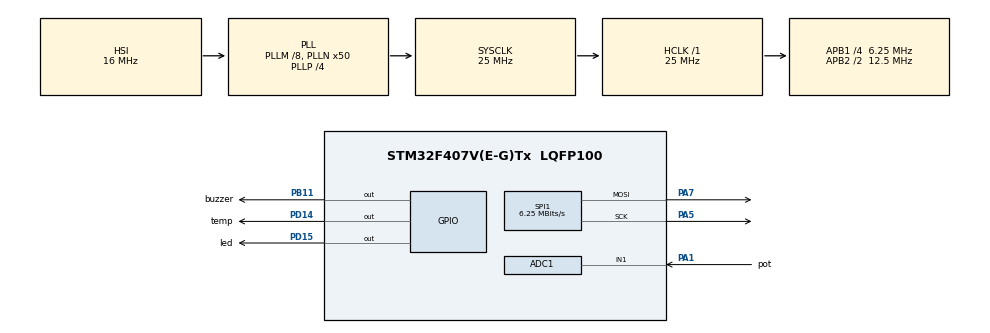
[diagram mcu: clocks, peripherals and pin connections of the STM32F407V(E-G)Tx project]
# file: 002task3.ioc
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Mcu.Family=STM32F4
RCC.CortexFreq_Value=25000000
FREERTOS.Tasks01=defaultTask,0,128,StartDefaultTask,Default,NULL,Dynamic,NULL,NULL
PD15.GPIO_Label=led
ADC1.Rank-0\#ChannelRegularConversion=1
PA7.Mode=TX_Only_Simplex_Unidirect_Master
SPI1.VirtualType=VM_MASTER
VP_SYS_VS_tim7.Mode=TIM7
PB11.GPIO_Label=buzzer
RCC.APB1CLKDivider=RCC_HCLK_DIV4
PB11.Signal=GPIO_Output
RCC.SYSCLKSource=RCC_SYSCLKSOURCE_PLLCLK
ProjectManager.StackSize=0x400
PA13.Signal=SYS_JTMS-SWDIO
NVIC.ADC_IRQn=true\:15\:0\:true\:false\:true\:true\:true\:true
ProjectManager.TargetToolchain=STM32CubeIDE
SPI1.Direction=SPI_DIRECTION_2LINES
RCC.HCLKFreq_Value=25000000
ADC1.Resolution=ADC_RESOLUTION_10B
RCC.APB2TimFreq_Value=25000000
SPI1.CalculateBaudRate=6.25 MBits/s
RCC.LSE_VALUE=32768
PA1.Signal=ADCx_IN1
RCC.AHBFreq_Value=25000000
PA5.Signal=SPI1_SCK
ADC1.Channel-0\#ChannelRegularConversion=ADC_CHANNEL_1
RCC.HSE_VALUE=8000000
FREERTOS.configUSE_TIMERS=1
board=STM32F407G-DISC1
RCC.VCOOutputFreq_Value=100000000
NVIC.SPI1_IRQn=true\:0\:0\:false\:false\:true\:true\:true\:true
RCC.APB2Freq_Value=12500000
SPI1.Mode=SPI_MODE_MASTER
PA14.Mode=Serial_Wire
PA1.GPIO_Label=pot
PD14.GPIO_Label=temp
VP_FREERTOS_VS_CMSIS_V1.Mode=CMSIS_V1
PA13.Mode=Serial_Wire
Mcu.Name=STM32F407V(E-G)Tx
ADC1.SamplingTime-0\#ChannelRegularConversion=ADC_SAMPLETIME_3CYCLES
PD14.Signal=GPIO_Output
RCC.48MHZClocksFreq_Value=14285714.285714285
RCC.SYSCLKFreq_VALUE=25000000
Mcu.Package=LQFP100
ADC1.master=1
NVIC.TimeBase=TIM7_IRQn
NVIC.TimeBaseIP=TIM7
PA14.Signal=SYS_JTCK-SWCLK
ProjectManager.HeapSize=0x200
FREERTOS.Timers01=myTimer01,Callback01,osTimerPeriodic,Default,NULL,Dynamic,NULL
RCC.HSI_VALUE=16000000
RCC.PLLP=RCC_PLLP_DIV4
RCC.PLLQ=7
NVIC.PriorityGroup=NVIC_PRIORITYGROUP_4
ADC1.NbrOfConversionFlag=1
RCC.APB2CLKDivider=RCC_HCLK_DIV2
SH.ADCx_IN1.0=ADC1_IN1,IN1
RCC.PLLM=8
RCC.PLLN=50
RCC.APB1TimFreq_Value=12500000
RCC.APB1Freq_Value=6250000
PD15.Signal=GPIO_Output
NVIC.TIM7_IRQn=true\:0\:0\:false\:false\:true\:false\:false\:true
PA5.Mode=TX_Only_Simplex_Unidirect_Master
PA7.Signal=SPI1_MOSI

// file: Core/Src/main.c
/* USER CODE BEGIN Header */
/**
  ******************************************************************************
  * @file           : main.c
  * @brief          : Main program body
  ******************************************************************************
  * @attention
  *
  * <h2><center>&copy; Copyright (c) 2020 STMicroelectronics.
  * All rights reserved.</center></h2>
  *
  * This software component is licensed by ST under Ultimate Liberty license
  * SLA0044, the "License"; You may not use this file except in compliance with
  * the License. You may obtain a copy of the License at:
  *                             www.st.com/SLA0044
  *
  ******************************************************************************
  */
/* USER CODE END Header */
#include "main.h"
#include "cmsis_os.h"

ADC_HandleTypeDef hadc1;

SPI_HandleTypeDef hspi1;

osThreadId defaultTaskHandle;
osTimerId myTimer01Handle;
/* USER CODE BEGIN PV */
uint8_t flag=1;
osThreadId defaultTaskHandle2;
/* USER CODE END PV */

void SystemClock_Config(void);
static void MX_GPIO_Init(void);
static void MX_ADC1_Init(void);
static void MX_SPI1_Init(void);
void StartDefaultTask(void const * argument);
void Callback01(void const * argument);

/* USER CODE BEGIN PFP */
//void StartDefaultTask2(void const * argument);
/* USER CODE END PFP */

int main(void)
{

  /* MCU Configuration--------------------------------------------------------*/

  /* Reset of all peripherals, Initializes the Flash interface and the Systick. */
  HAL_Init();

  /* Configure the system clock */
  SystemClock_Config();

  /* Initialize all configured peripherals */
  MX_GPIO_Init();
  MX_ADC1_Init();
  MX_SPI1_Init();

  /* Create the timer(s) */
  /* definition and creation of myTimer01 */
  osTimerDef(myTimer01, Callback01);
  myTimer01Handle = osTimerCreate(osTimer(myTimer01), osTimerPeriodic, NULL);

  /* Create the thread(s) */
  /* definition and creation of defaultTask */
  osThreadDef(defaultTask, StartDefaultTask, osPriorityNormal, 0, 128);
  defaultTaskHandle = osThreadCreate(osThread(defaultTask), NULL);

  /* USER CODE BEGIN RTOS_THREADS */
  /* add threads, ... */
  //osThreadDef(defaultTask2, StartDefaultTask2, osPriorityNormal, 0, 128);
  //defaultTaskHandle2 = osThreadCreate(osThread(defaultTask2), NULL);
  /* USER CODE END RTOS_THREADS */

  /* Start scheduler */
  osKernelStart();

  /* We should never get here as control is now taken by the scheduler */
  /* Infinite loop */
  while (1)
  {

  }
}

void SystemClock_Config(void)
{
  RCC_OscInitTypeDef RCC_OscInitStruct = {0};
  RCC_ClkInitTypeDef RCC_ClkInitStruct = {0};

  /** Configure the main internal regulator output voltage
  */
  __HAL_RCC_PWR_CLK_ENABLE();
  __HAL_PWR_VOLTAGESCALING_CONFIG(PWR_REGULATOR_VOLTAGE_SCALE1);
  /** Initializes the RCC Oscillators according to the specified parameters
  * in the RCC_OscInitTypeDef structure.
  */
  RCC_OscInitStruct.OscillatorType = RCC_OSCILLATORTYPE_HSI;
  RCC_OscInitStruct.HSIState = RCC_HSI_ON;
  RCC_OscInitStruct.HSICalibrationValue = RCC_HSICALIBRATION_DEFAULT;
  RCC_OscInitStruct.PLL.PLLState = RCC_PLL_ON;
  RCC_OscInitStruct.PLL.PLLSource = RCC_PLLSOURCE_HSI;
  RCC_OscInitStruct.PLL.PLLM = 8;
  RCC_OscInitStruct.PLL.PLLN = 50;
  RCC_OscInitStruct.PLL.PLLP = RCC_PLLP_DIV4;
  RCC_OscInitStruct.PLL.PLLQ = 7;
  if (HAL_RCC_OscConfig(&RCC_OscInitStruct) != HAL_OK)
  {
    Error_Handler();
  }
  /** Initializes the CPU, AHB and APB buses clocks
  */
  RCC_ClkInitStruct.ClockType = RCC_CLOCKTYPE_HCLK|RCC_CLOCKTYPE_SYSCLK
                              |RCC_CLOCKTYPE_PCLK1|RCC_CLOCKTYPE_PCLK2;
  RCC_ClkInitStruct.SYSCLKSource = RCC_SYSCLKSOURCE_PLLCLK;
  RCC_ClkInitStruct.AHBCLKDivider = RCC_SYSCLK_DIV1;
  RCC_ClkInitStruct.APB1CLKDivider = RCC_HCLK_DIV4;
  RCC_ClkInitStruct.APB2CLKDivider = RCC_HCLK_DIV2;

  if (HAL_RCC_ClockConfig(&RCC_ClkInitStruct, FLASH_LATENCY_0) != HAL_OK)
  {
    Error_Handler();
  }
}

static void MX_ADC1_Init(void)
{

  ADC_ChannelConfTypeDef sConfig = {0};

  /** Configure the global features of the ADC (Clock, Resolution, Data Alignment and number of conversion)
  */
  hadc1.Instance = ADC1;
  hadc1.Init.ClockPrescaler = ADC_CLOCK_SYNC_PCLK_DIV2;
  hadc1.Init.Resolution = ADC_RESOLUTION_10B;
  hadc1.Init.ScanConvMode = DISABLE;
  hadc1.Init.ContinuousConvMode = DISABLE;
  hadc1.Init.DiscontinuousConvMode = DISABLE;
  hadc1.Init.ExternalTrigConvEdge = ADC_EXTERNALTRIGCONVEDGE_NONE;
  hadc1.Init.ExternalTrigConv = ADC_SOFTWARE_START;
  hadc1.Init.DataAlign = ADC_DATAALIGN_RIGHT;
  hadc1.Init.NbrOfConversion = 1;
  hadc1.Init.DMAContinuousRequests = DISABLE;
  hadc1.Init.EOCSelection = ADC_EOC_SINGLE_CONV;
  if (HAL_ADC_Init(&hadc1) != HAL_OK)
  {
    Error_Handler();
  }
  /** Configure for the selected ADC regular channel its corresponding rank in the sequencer and its sample time.
  */
  sConfig.Channel = ADC_CHANNEL_1;
  sConfig.Rank = 1;
  sConfig.SamplingTime = ADC_SAMPLETIME_3CYCLES;
  if (HAL_ADC_ConfigChannel(&hadc1, &sConfig) != HAL_OK)
  {
    Error_Handler();
  }

}

static void MX_SPI1_Init(void)
{

  /* SPI1 parameter configuration*/
  hspi1.Instance = SPI1;
  hspi1.Init.Mode = SPI_MODE_MASTER;
  hspi1.Init.Direction = SPI_DIRECTION_2LINES;
  hspi1.Init.DataSize = SPI_DATASIZE_8BIT;
  hspi1.Init.CLKPolarity = SPI_POLARITY_LOW;
  hspi1.Init.CLKPhase = SPI_PHASE_1EDGE;
  hspi1.Init.NSS = SPI_NSS_SOFT;
  hspi1.Init.BaudRatePrescaler = SPI_BAUDRATEPRESCALER_2;
  hspi1.Init.FirstBit = SPI_FIRSTBIT_MSB;
  hspi1.Init.TIMode = SPI_TIMODE_DISABLE;
  hspi1.Init.CRCCalculation = SPI_CRCCALCULATION_DISABLE;
  hspi1.Init.CRCPolynomial = 10;
  if (HAL_SPI_Init(&hspi1) != HAL_OK)
  {
    Error_Handler();
  }

}

static void MX_GPIO_Init(void)
{
  GPIO_InitTypeDef GPIO_InitStruct = {0};

  /* GPIO Ports Clock Enable */
  __HAL_RCC_GPIOA_CLK_ENABLE();
  __HAL_RCC_GPIOB_CLK_ENABLE();
  __HAL_RCC_GPIOD_CLK_ENABLE();

  /*Configure GPIO pin Output Level */
  HAL_GPIO_WritePin(buzzer_GPIO_Port, buzzer_Pin, GPIO_PIN_RESET);

  /*Configure GPIO pin Output Level */
  HAL_GPIO_WritePin(GPIOD, temp_Pin|led_Pin, GPIO_PIN_RESET);

  /*Configure GPIO pin : buzzer_Pin */
  GPIO_InitStruct.Pin = buzzer_Pin;
  GPIO_InitStruct.Mode = GPIO_MODE_OUTPUT_PP;
  GPIO_InitStruct.Pull = GPIO_NOPULL;
  GPIO_InitStruct.Speed = GPIO_SPEED_FREQ_LOW;
  HAL_GPIO_Init(buzzer_GPIO_Port, &GPIO_InitStruct);

  /*Configure GPIO pins : temp_Pin led_Pin */
  GPIO_InitStruct.Pin = temp_Pin|led_Pin;
  GPIO_InitStruct.Mode = GPIO_MODE_OUTPUT_PP;
  GPIO_InitStruct.Pull = GPIO_NOPULL;
  GPIO_InitStruct.Speed = GPIO_SPEED_FREQ_LOW;
  HAL_GPIO_Init(GPIOD, &GPIO_InitStruct);

}

void StartDefaultTask(void const * argument)
{
  /* USER CODE BEGIN 5 */
	osTimerStart(myTimer01Handle, 250);
  /* Infinite loop */
  for(;;)
  {
	  //HAL_GPIO_TogglePin(temp_GPIO_Port, temp_Pin);
	  osDelay(500);
  }
  /* USER CODE END 5 */
}

/* Callback01 function */
void Callback01(void const * argument)
{
  /* USER CODE BEGIN Callback01 */
	++flag;

	if(flag%2==0)
	{
		HAL_ADC_Start_IT(&hadc1);
	}
	else
	{
		HAL_GPIO_WritePin(temp_GPIO_Port, temp_Pin, 0);
	}

	if(flag%4==0)
	{
		HAL_GPIO_WritePin(buzzer_GPIO_Port, buzzer_Pin, 0);
	}
	else
	{
		HAL_GPIO_WritePin(buzzer_GPIO_Port, buzzer_Pin, 1);
	}

	if(flag%20==0)
	{
		HAL_GPIO_WritePin(led_GPIO_Port, led_Pin, 1);
	}
	else
	{
		HAL_GPIO_WritePin(led_GPIO_Port, led_Pin, 0);
	}

	if(flag%40==0)
	{
		HAL_SPI_TransmitReceive_IT(&hspi1, val, rxdata, 1);
	}
  /* USER CODE END Callback01 */
}

void HAL_TIM_PeriodElapsedCallback(TIM_HandleTypeDef *htim)
{
  if (htim->Instance == TIM7) {
    HAL_IncTick();
  }
}

void Error_Handler(void)
{
}

/************************ (C) COPYRIGHT STMicroelectronics *****END OF FILE****/
